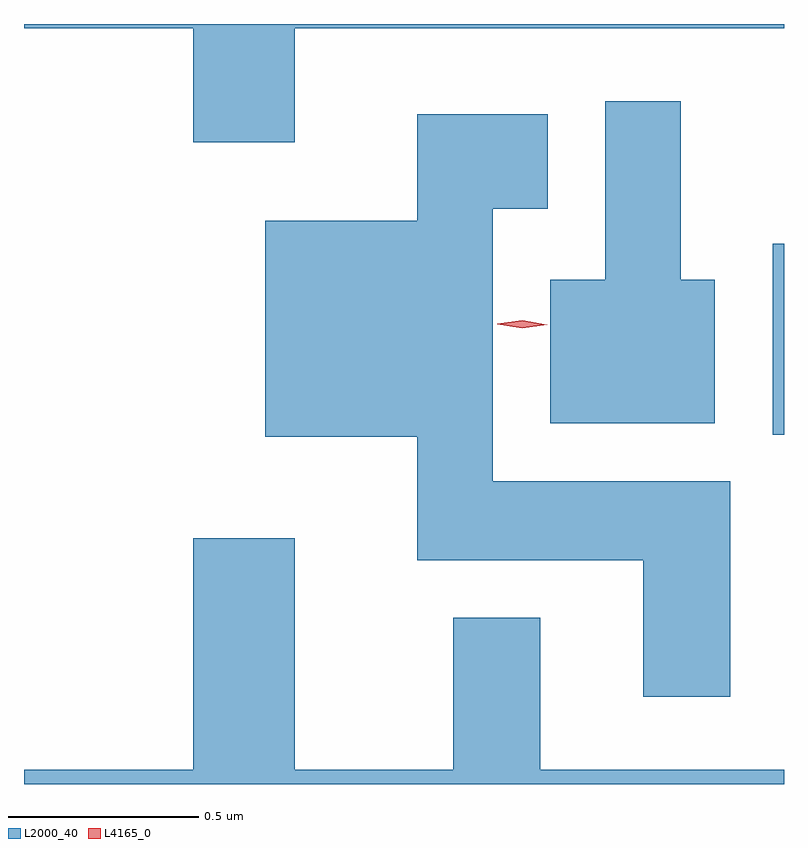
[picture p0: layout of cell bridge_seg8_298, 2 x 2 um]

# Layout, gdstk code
import gdstk
lib = gdstk.Library(unit=1e-6, precision=1e-09)
def R(c, l, rs):  # rectangles x0, y0, x1, y1
    for r in rs: c.add(gdstk.rectangle(r[:2], r[2:], *l))
def P(c, l, *ps):  # polygons
    for p in ps: c.add(gdstk.Polygon(p, *l))
L2000_40 = (2000, 40)
L4165_0 = (4165, 0)

bridge_seg8_298 = lib.new_cell('bridge_seg8_298')
R(bridge_seg8_298, L2000_40, [(1395.421,1813.146,1395.451,1813.649)])
P(bridge_seg8_298, L2000_40, [(1394.164,1814.216),(1395.451,1814.216),(1395.451,1814.227),(1393.451,1814.227),(1393.451,1814.216),(1393.896,1814.216),(1393.896,1813.916),(1394.164,1813.916)],
  [(1395.269,1813.554),(1395.179,1813.554),(1395.179,1814.024),(1394.981,1814.024),(1394.981,1813.554),(1394.836,1813.554),(1394.836,1813.176),(1395.269,1813.176)],
  [(1395.309,1813.024),(1394.684,1813.024),(1394.684,1813.741),(1394.829,1813.741),(1394.829,1813.989),(1394.486,1813.989),(1394.486,1813.709),(1394.086,1813.709),(1394.086,1813.141),(1394.486,1813.141),(1394.486,1812.816),(1395.081,1812.816),(1395.081,1812.456),(1395.309,1812.456)],
  [(1395.451,1812.264),(1394.809,1812.264),(1394.809,1812.664),(1394.581,1812.664),(1394.581,1812.264),(1394.164,1812.264),(1394.164,1812.874),(1393.896,1812.874),(1393.896,1812.264),(1393.451,1812.264),(1393.451,1812.227),(1395.451,1812.227)])
P(bridge_seg8_298, L4165_0, [(1394.762,1813.427),(1394.696,1813.437),(1394.696,1813.438),(1394.696,1813.438),(1394.762,1813.447),(1394.828,1813.436),(1394.828,1813.436),(1394.828,1813.435)])

lib.write_gds('bridge_seg8_298.gds')
